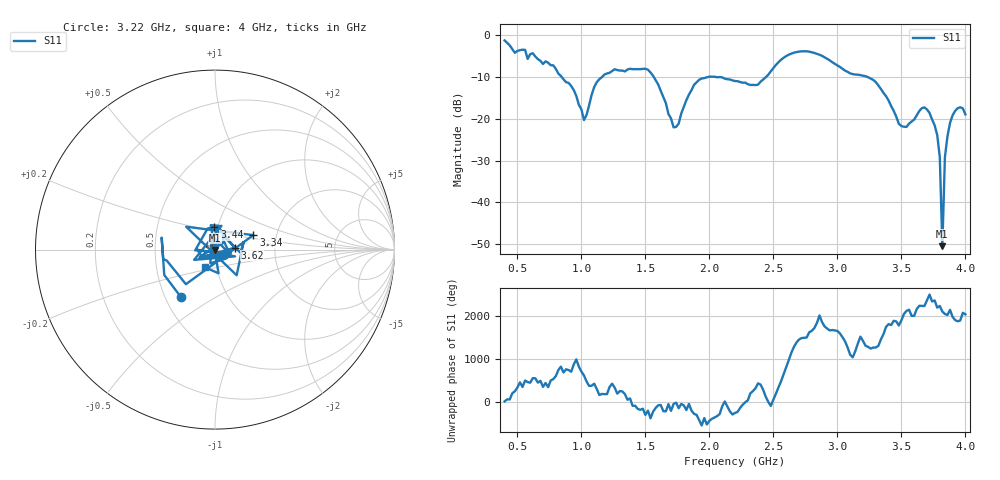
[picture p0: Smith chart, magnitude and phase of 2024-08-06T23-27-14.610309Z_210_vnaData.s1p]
!Created with skrf (http://scikit-rf.org).
# Hz S RI R 50.0
!freq ReS11 ImS11
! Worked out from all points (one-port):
!   181 points, 400 MHz to 4 GHz, reference 50 ohm
!   lowest |S11| = -50.5 dB at 3.82 GHz (marker M1), VSWR 1.01, Z = 50.2 - j0.243 ohm
!   |S11| at or under -10 dB: 1.567 GHz to 1.985 GHz (418.4 MHz wide, 23.6 % of centre); 2.087 GHz to 2.441 GHz (353.8 MHz wide, 15.6 % of centre); 3.24 GHz to end of sweep (the widest 3 of 5)
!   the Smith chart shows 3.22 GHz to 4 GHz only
!   S11 on the Smith chart (normalised r, x): 3.22 GHz: 0.60, -0.35; 3.34 GHz: 1.52, +0.26; 3.44 GHz: 0.96, +0.24; 3.62 GHz: 1.25, +0.03; 4 GHz: 0.88, -0.18
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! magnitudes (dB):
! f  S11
! 400 MHz  -1.2
! 860 MHz  -10.5
! 940 MHz  -13.1
! 1.02 GHz  -20.3
! 1.12 GHz  -11.2
! 1.3 GHz  -8.4
! 1.52 GHz  -8.2
! 1.72 GHz  -22.0
! 1.76 GHz  -21.1
! 1.92 GHz  -10.6
! 2.2 GHz  -10.9
! 2.38 GHz  -11.8
! 2.66 GHz  -4.1
! 3.1 GHz  -9.1
! 3.22 GHz  -9.8
! 3.34 GHz  -12.8
! 3.44 GHz  -18.1
! 3.5 GHz  -21.7
! 3.56 GHz  -21.1
! 3.62 GHz  -19.1
! 3.7 GHz  -17.7
! 3.78 GHz  -23.9
! 3.8 GHz  -29.1
! 3.82 GHz  -50.5
! 3.84 GHz  -29.2
! 3.86 GHz  -24.2
! 3.92 GHz  -18.1
! 4 GHz  -18.9
